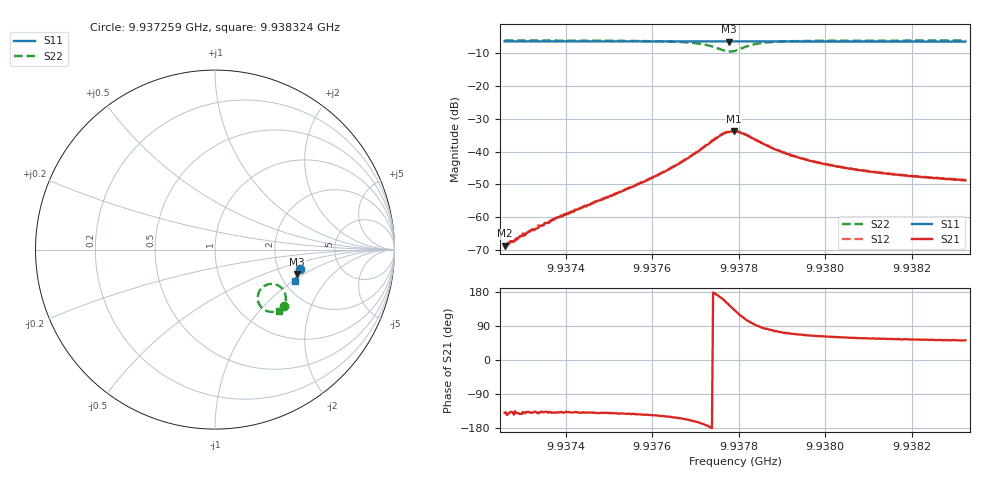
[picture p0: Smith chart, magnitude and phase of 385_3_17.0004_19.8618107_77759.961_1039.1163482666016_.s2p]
#  HZ  S  RI  R  50.00
! Rohde & Schwarz Vector Network Analyzer
! Rohde-Schwarz,ZNB20-2Port,1311601062101988,3.16
! Created: UTC 3/20/2024, 11:09:19 PM
! freq[Hz]  re:S11  im:S11  re:S21  im:S21  re:S12  im:S12  re:S22  im:S22
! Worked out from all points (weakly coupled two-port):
!   401 points, 9.937259 GHz to 9.938324 GHz, reference 50 ohm
!   highest |S21| = -33.77 dB at 9.937789 GHz (marker M1); lowest = -68.7 dB at 9.937259 GHz (marker M2)
!   lowest |S11| = -6.4 dB at 9.937778 GHz (marker M3), VSWR 2.84, Z = 123 - j44.4 ohm
!   |S11| at or under -10 dB: nowhere
!   |S22| runs from -9.5 to -6.1 dB; largest |S21 - S12| = 0.00087
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9.9372587e9  0.4721 -0.1056  -0.000277 -0.00024  -0.000306 -0.000249  0.3868 -0.3138
9.9372773e9  0.4717 -0.1068  -0.000324 -0.000286  -0.000317 -0.000297  0.3854 -0.3152
9.9373173e9  0.4708 -0.1095  -0.000459 -0.000402  -0.000476 -0.000396  0.3825 -0.318
9.9373306e9  0.4706 -0.1105  -0.00049 -0.000455  -0.000513 -0.000435  0.3813 -0.3191
9.9373759e9  0.4697 -0.1133  -0.000704 -0.00063  -0.000697 -0.000608  0.3773 -0.3223
9.9374371e9  0.4685 -0.1176  -0.00103 -0.000934  -0.00108 -0.000904  0.3715 -0.3272
9.9375223e9  0.4665 -0.1232  -0.00186 -0.00147  -0.00189 -0.00148  0.3605 -0.335
9.9376155e9  0.4641 -0.1294  -0.00377 -0.00245  -0.00387 -0.00241  0.3397 -0.3442
9.9376715e9  0.4626 -0.1333  -0.00647 -0.00299  -0.00666 -0.00292  0.3146 -0.3473
9.9377221e9  0.461 -0.1366  -0.0119 -0.00184  -0.0121 -0.00172  0.2711 -0.3331
9.9377567e9  0.4591 -0.1382  -0.0171 0.00428  -0.0173 0.00481  0.2386 -0.2791
9.937778e9  0.4585 -0.1386  -0.0164 0.0116  -0.0164 0.0122  0.253 -0.2227
9.9377886e9  0.4585 -0.139  -0.014 0.0149  -0.0138 0.0156  0.2771 -0.2013
9.9377913e9  0.4586 -0.139  -0.0133 0.0155  -0.013 0.0162  0.2843 -0.1977
9.9378153e9  0.4588 -0.1401  -0.00553 0.0173  -0.00513 0.0177  0.3454 -0.1968
9.9378472e9  0.4589 -0.1424  0.000323 0.0142  0.000719 0.0143  0.3848 -0.2316
9.9378792e9  0.4585 -0.145  0.00236 0.0109  0.00261 0.011  0.3942 -0.261
9.9379031e9  0.4578 -0.1466  0.00305 0.00921  0.00301 0.00926  0.3945 -0.2762
9.9379697e9  0.4563 -0.1512  0.00309 0.00643  0.00325 0.00641  0.3886 -0.3014
9.9380629e9  0.4539 -0.1574  0.00286 0.00462  0.00292 0.00461  0.379 -0.3193
9.9381481e9  0.4517 -0.163  0.00259 0.00378  0.00267 0.00378  0.372 -0.3295
9.9383239e9  0.4467 -0.1742  0.00223 0.00287  0.00236 0.00285  0.3589 -0.3438
